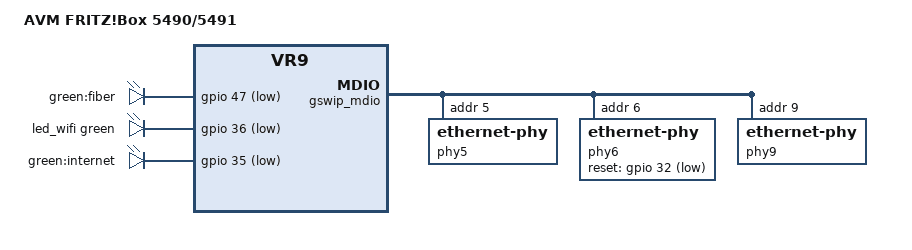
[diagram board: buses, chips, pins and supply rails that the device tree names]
// SPDX-License-Identifier: GPL-2.0-or-later OR MIT

#include <dt-bindings/leds/common.h>

#include "vr9_avm_fritzxx90.dtsi"

/ {
	compatible = "avm,fritz5490", "lantiq,xway", "lantiq,vr9";
	model = "AVM FRITZ!Box 5490/5491";
};

&aliases {
	led-dsl = &led_info_green;
	led-internet = &led_internet;
	led-wifi = &led_wifi;
};

&leds {
	led_fiber: fiber {
		label = "green:fiber";
		gpios = <&gpio 47 GPIO_ACTIVE_LOW>;
	};

	led_wifi: wifi {
		function = LED_FUNCTION_WLAN;
		color = <LED_COLOR_ID_GREEN>;
		gpios = <&gpio 36 GPIO_ACTIVE_LOW>;
	};

	led_internet: internet {
		label = "green:internet";
		gpios = <&gpio 35 GPIO_ACTIVE_LOW>;
	};
};

&gswip_mdio {
	phy5: ethernet-phy@5 {
		reg = <0x05>;
	};

	phy6: ethernet-phy@6 {
		reg = <0x06>;
		reset-gpios = <&gpio 32 GPIO_ACTIVE_LOW>;
	};

	phy9: ethernet-phy@9 {
		reg = <0x09>;
	};
};

&gswip_ports {
	port@0 {
		reg = <0>;
		label = "wan";
		phy-mode = "rgmii";
		phy-handle = <&phy6>;
	};

	port@2 {
		reg = <2>;
		label = "lan2";
		phy-mode = "internal";
		phy-handle = <&phy5>;
	};

	port@4 {
		reg = <4>;
		label = "lan1";
		phy-mode = "internal";
		phy-handle = <&phy9>;
	};
};
